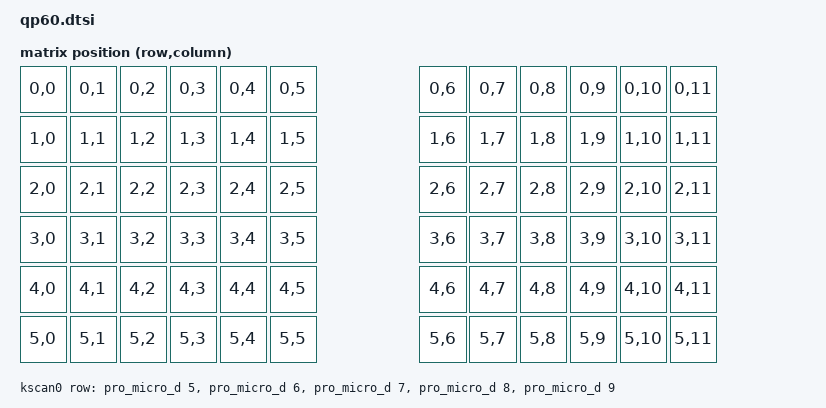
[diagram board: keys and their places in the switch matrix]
/*
 * Copyright (c) 2020 The ZMK Contributors
 *
 * SPDX-License-Identifier: MIT
 */

#include <dt-bindings/zmk/matrix_transform.h>

/ {
    chosen {
        zmk,kscan = &kscan0;
        zmk,matrix_transform = &default_transform;
    };

    default_transform: keymap_transform_0 {
        compatible = "zmk,matrix-transform";
        columns = <6>;
        rows = <5>;


//           |  F1_UP  |                     |  F2_UP  |                     |  F3_UP  |                     |  F4_UP  |                               |  F4_UP  |                      |  F3_UP  |                      |  F2_UP  |                      |  F1_UP  |
// |  F1_LFT |  F1_CLK |  F1_RGT | |  F2_LFT |  F2_CLK |  F2_RGT | |  F3_LFT |  F3_CLK |  F3_RGT | |  F4_LFT |  F4_CLK |  F4_RGT |          |  F4_LFT  |  F4_CLK |  F4_RGT | |  F3_LFT  |  F3_CLK |  F3_RGT | |  F2_LFT  |  F2_CLK |  F2_RGT | |  F1_LFT  |  F1_CLK |  F1_RGT | 
//           |  F1_DWN |                     |  F2_DWN |                     |  F3_DWN |                     |  F4_DWN |                               |  F4_DWN |                      |  F3_DWN |                      |  F2_DWN |                      |  F1_DWN |
//
//                                                                                                           | TH1_UP  |                               | TH1_UP  |
//                                                                                                 | TH1_LFT | TH1_CLK | TH1_RGT |           | TH1_LFT | TH1_CLK | TH1_RGT | 
//                                                                                                           | TH1_DWN |                               | TH1_DWN |
//
//                                                                                                           | TH2_UP  |                               | TH2_UP  |
//                                                                                                 | TH2_LFT | TH2_CLK | TH2_RGT |           | TH2_LFT | TH2_CLK | TH2_RGT | 
//                                                                                                           | TH2_DWN |                               | TH2_DWN |

// | F1_1  | F2_1  | F3_1  | F4_1  | TH1_1 | TH2_1 |                 | TH2_1 | TH1_1 | F4_1  | F3_1  | F2_1  | F1_1  |
// | F1_2  | F2_2  | F3_2  | F4_2  | TH1_2 | TH2_2 |                 | TH2_2 | TH1_2 | F4_2  | F3_2  | F2_2  | F1_2  |
// | F1_3  | F2_3  | F3_3  | F4_3  | TH1_3 | TH2_3 |                 | TH2_3 | TH1_3 | F4_3  | F3_3  | F2_3  | F1_4  |
// | F1_4  | F2_4  | F3_4  | F4_4  | TH1_4 | TH2_4 |                 | TH2_4 | TH1_4 | F4_4  | F3_4  | F2_4  | F1_5  |
// | F1_5  | F2_5  | F3_5  | F4_5  | TH1_5 | TH2_5 |                 | TH2_5 | TH1_5 | F4_5  | F3_5  | F2_5  | F1_5  |
        map = <
RC(0,0) RC(0,1) RC(0,2) RC(0,3) RC(0,4) RC(0,5)                 RC(0,6) RC(0,7) RC(0,8) RC(0,9) RC(0,10) RC(0,11)
RC(1,0) RC(1,1) RC(1,2) RC(1,3) RC(1,4) RC(1,5)                 RC(1,6) RC(1,7) RC(1,8) RC(1,9) RC(1,10) RC(1,11)
RC(2,0) RC(2,1) RC(2,2) RC(2,3) RC(2,4) RC(2,5)                 RC(2,6) RC(2,7) RC(2,8) RC(2,9) RC(2,10) RC(2,11)
RC(3,0) RC(3,1) RC(3,2) RC(3,3) RC(3,4) RC(3,5)                 RC(3,6) RC(3,7) RC(3,8) RC(3,9) RC(3,10) RC(3,11)
RC(4,0) RC(4,1) RC(4,2) RC(4,3) RC(4,4) RC(4,5)                 RC(4,6) RC(4,7) RC(4,8) RC(4,9) RC(4,10) RC(4,11)
RC(5,0) RC(5,1) RC(5,2) RC(5,3) RC(5,4) RC(5,5)                 RC(5,6) RC(5,7) RC(5,8) RC(5,9) RC(5,10) RC(5,11)
        >;
    };

    kscan0: kscan {
        compatible = "zmk,kscan-gpio-matrix";
        label = "KSCAN";

        diode-direction = "col2row";
        row-gpios
            = <&pro_micro_d 5 (GPIO_ACTIVE_HIGH | GPIO_PULL_DOWN)>
            , <&pro_micro_d 6 (GPIO_ACTIVE_HIGH | GPIO_PULL_DOWN)>
            , <&pro_micro_d 7 (GPIO_ACTIVE_HIGH | GPIO_PULL_DOWN)>
            , <&pro_micro_d 8 (GPIO_ACTIVE_HIGH | GPIO_PULL_DOWN)>
            , <&pro_micro_d 9 (GPIO_ACTIVE_HIGH | GPIO_PULL_DOWN)>
            ;
    };

};

&pro_micro_i2c {
    status = "okay";

};
